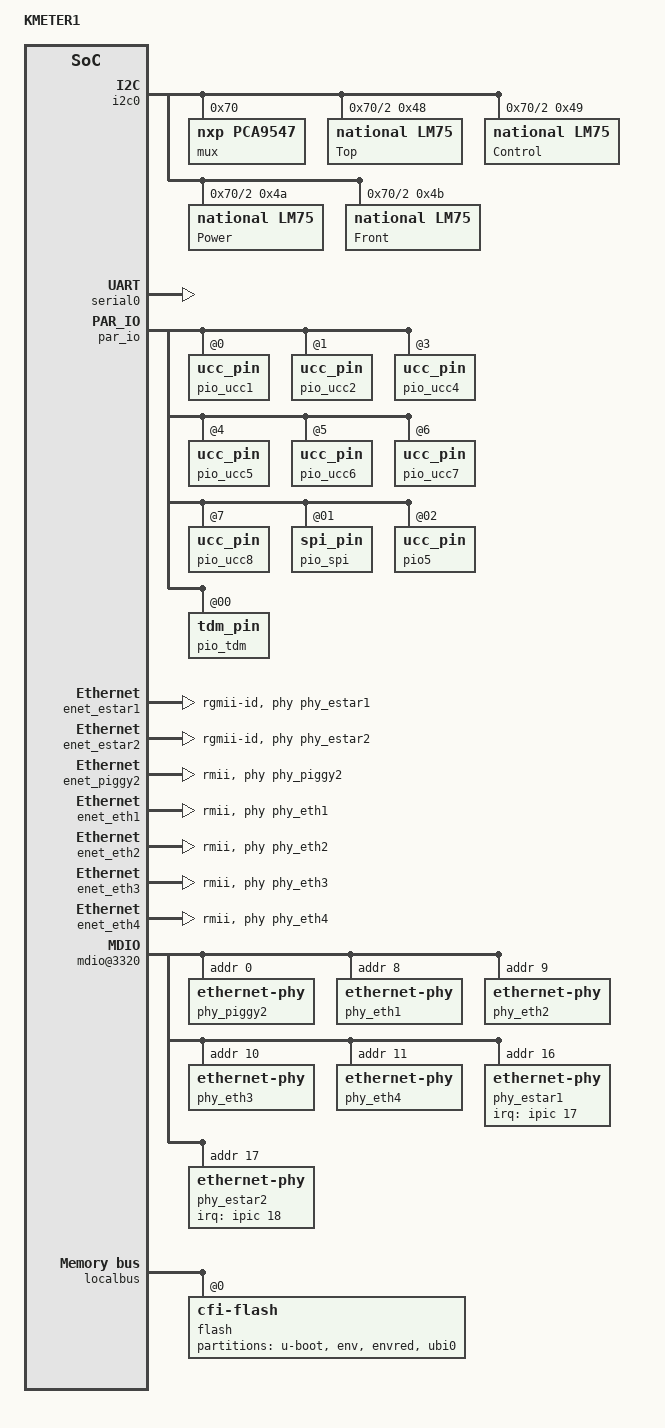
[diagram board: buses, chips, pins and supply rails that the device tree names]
// SPDX-License-Identifier: GPL-2.0+
/*
 * Hitachi Power Grids KMETER1 Device Tree Source
 *
 * 2008-2011 DENX Software Engineering GmbH
 * Copyright (C) 2020 Heiko Schocher <hs@denx.de>
 */

/dts-v1/;

#include "km836x.dtsi"

/ {
	model = "KMETER1";
	compatible = "keymile,KMETER1";

	aliases {
		ethernet0 = &enet_piggy2;
		ethernet1 = &enet_estar1;
		ethernet2 = &enet_estar2;
		ethernet3 = &enet_eth1;
		ethernet4 = &enet_eth2;
		ethernet5 = &enet_eth3;
		ethernet6 = &enet_eth4;
		serial0 = &serial0;
	};
};

&i2c0 {
	mux@70 {
		compatible = "nxp,pca9547";
		reg = <0x70>;
		#address-cells = <1>;
		#size-cells = <0>;

		i2c@1 {
			reg = <1>;
			#address-cells = <1>;
			#size-cells = <0>;

			/* Inventory EEPROM of the unit itself */
			ivm@50 {
				label = "MAIN_CTRL";
				compatible = "dummy";
				reg = <0x50>;
			};
		};

		i2c@2 {
			reg = <2>;
			#address-cells = <1>;
			#size-cells = <0>;

			/* Temperature sensors */
			temp@48 {
				label = "Top";
				compatible = "national,lm75";
				reg = <0x48>;
			};

			temp@49 {
				label = "Control";
				compatible = "national,lm75";
				reg = <0x49>;
			};

			temp@4a {
				label = "Power";
				compatible = "national,lm75";
				reg = <0x4a>;
			};

			temp@4b {
				label = "Front";
				compatible = "national,lm75";
				reg = <0x4b>;
			};
		};
	};
};

&serial0 {
	status = "okay";
};

&par_io {
	pio_ucc1: ucc_pin@0 {
		pio-map = <
			/* port pin dir open_drain assignment has_irq */
			0   1  3  0  2  0	/* MDIO   */
			0   2  1  0  1  0	/* MDC    */

			0   3  1  0  1  0	/* TxD0   */
			0   4  1  0  1  0	/* TxD1   */
			0   5  1  0  1  0	/* TxD2   */
			0   6  1  0  1  0	/* TxD3   */
			0   9  2  0  1  0	/* RxD0   */
			0  10  2  0  1  0	/* RxD1   */
			0  11  2  0  1  0	/* RxD2   */
			0  12  2  0  1  0	/* RxD3   */
			0   7  1  0  1  0	/* TX_EN  */
			0   8  1  0  1  0	/* TX_ER  */
			0  15  2  0  1  0	/* RX_DV  */
			0  16  2  0  1  0	/* RX_ER  */
			0   0  2  0  1  0	/* RX_CLK */
			2   9  1  0  3  0	/* GTX_CLK - CLK10 */
			2   8  2  0  1  0	/* GTX125  - CLK9  */
		>;
	};

	pio_ucc2: ucc_pin@1 {
		pio-map = <
			/* port pin dir open_drain assignment has_irq */
			0   1  3  0  2  0	/* MDIO   */
			0   2  1  0  1  0	/* MDC    */

			0  17  1  0  1  0	/* TxD0   */
			0  18  1  0  1  0	/* TxD1   */
			0  19  1  0  1  0	/* TxD2   */
			0  20  1  0  1  0	/* TxD3   */
			0  23  2  0  1  0	/* RxD0   */
			0  24  2  0  1  0	/* RxD1   */
			0  25  2  0  1  0	/* RxD2   */
			0  26  2  0  1  0	/* RxD3   */
			0  21  1  0  1  0	/* TX_EN  */
			0  22  1  0  1  0	/* TX_ER  */
			0  29  2  0  1  0	/* RX_DV  */
			0  30  2  0  1  0	/* RX_ER  */
			0  31  2  0  1  0	/* RX_CLK */
			2  2   1  0  2  0	/* GTX_CLK - CLK3  */
			2  3   2  0  1  0	/* GTX125  - CLK4  */
		>;
	};

	pio_ucc4: ucc_pin@3 {
		pio-map = <
			/* port pin dir open_drain assignment has_irq */
			0   1  3  0  2  0	/* MDIO */
			0   2  1  0  1  0	/* MDC  */

			1  14  1  0  1  0	/* TxD0   (PB14, out, f1) */
			1  15  1  0  1  0	/* TxD1   (PB15, out, f1) */
			1  20  2  0  1  0	/* RxD0   (PB20, in,  f1) */
			1  21  2  0  1  0	/* RxD1   (PB21, in,  f1) */
			1  18  1  0  1  0	/* TX_EN  (PB18, out, f1) */
			1  26  2  0  1  0	/* RX_DV  (PB26, in,  f1) */
			1  27  2  0  1  0	/* RX_ER  (PB27, in,  f1) */

			2  16  2  0  1  0	/* UCC4_RMII_CLK (CLK17) */
		>;
	};

	pio_ucc5: ucc_pin@4 {
		pio-map = <
			/* port pin dir open_drain assignment has_irq */
			0   1  3  0  2  0	/* MDIO */
			0   2  1  0  1  0	/* MDC  */

			3   0  1  0  1  0	/* TxD0  (PD0,  out, f1) */
			3   1  1  0  1  0	/* TxD1  (PD1,  out, f1) */
			3   6  2  0  1  0	/* RxD0  (PD6,   in, f1) */
			3   7  2  0  1  0	/* RxD1  (PD7,   in, f1) */
			3   4  1  0  1  0	/* TX_EN (PD4,  out, f1) */
			3  12  2  0  1  0	/* RX_DV (PD12,  in, f1) */
			3  13  2  0  1  0	/* RX_ER (PD13,  in, f1) */
		>;
	};

	pio_ucc6: ucc_pin@5 {
		pio-map = <
			/* port pin dir open_drain assignment has_irq */
			0   1  3  0  2  0	/* MDIO */
			0   2  1  0  1  0	/* MDC  */

			3  14  1  0  1  0	/* TxD0   (PD14, out, f1) */
			3  15  1  0  1  0	/* TxD1   (PD15, out, f1) */
			3  20  2  0  1  0	/* RxD0   (PD20, in,  f1) */
			3  21  2  0  1  0	/* RxD1   (PD21, in,  f1) */
			3  18  1  0  1  0	/* TX_EN  (PD18, out, f1) */
			3  26  2  0  1  0	/* RX_DV  (PD26, in,  f1) */
			3  27  2  0  1  0	/* RX_ER  (PD27, in,  f1) */
		>;
	};

	pio_ucc7: ucc_pin@6 {
		pio-map = <
			/* port pin dir open_drain assignment has_irq */
			0   1  3  0  2  0	/* MDIO */
			0   2  1  0  1  0	/* MDC  */

			4   0  1  0  1  0	/* TxD0   (PE0,  out, f1) */
			4   1  1  0  1  0	/* TxD1   (PE1,  out, f1) */
			4   6  2  0  1  0	/* RxD0   (PE6,   in, f1) */
			4   7  2  0  1  0	/* RxD1   (PE7,   in, f1) */
			4   4  1  0  1  0	/* TX_EN  (PE4,  out, f1) */
			4  12  2  0  1  0	/* RX_DV  (PE12,  in, f1) */
			4  13  2  0  1  0	/* RX_ER  (PE13,  in, f1) */
		>;
	};

	pio_ucc8: ucc_pin@7 {
		pio-map = <
			/* port pin dir open_drain assignment has_irq */
			0   1  3  0  2  0	/* MDIO */
			0   2  1  0  1  0	/* MDC  */

			4  14  1  0  2  0	/* TxD0   (PE14, out, f2) */
			4  15  1  0  1  0	/* TxD1   (PE15, out, f1) */
			4  20  2  0  1  0	/* RxD0   (PE20, in,  f1) */
			4  21  2  0  1  0	/* RxD1   (PE21, in,  f1) */
			4  18  1  0  1  0	/* TX_EN  (PE18, out, f1) */
			4  26  2  0  1  0	/* RX_DV  (PE26, in,  f1) */
			4  27  2  0  1  0	/* RX_ER  (PE27, in,  f1) */

			2  15  2  0  1  0	/* UCCx_RMII_CLK (CLK16) */
		>;
	};

	pio_spi: spi_pin@01 {
		pio-map = <
			/* port  pin  dir  open_drain  assignment  has_irq  */
			4  28  3  0  3  0	/* SPI_MOSI (PE28, out, f3  */
			4  30  3  0  3  0	/* SPI_CLK  (PE30, out, f3  */
		>;
	};

	/* UCC3 as HDLC controller for ICN */
	pio5: ucc_pin@02 {
		pio-map = <
			/* port  pin  dir  open_drain  assignment  has_irq */
			1   0  1  0  1  0   /* TxD0 */
			1   6  2  0  1  0   /* RxD0 */
			1  12  2  0  1  0   /* CTS */
			2  11  2  0  1  0   /* TX-CLK12 */
		>;
	};

	pio_tdm: tdm_pin@00 {
		pio-map = <
			/* port pin dir open_drain assignment has_irq */
			/* TDMa */
			0  8  3  0  2  0	/* RxD0    (PA8,  bi, f2) */
			0  13 3  0  2  0	/* TxD0    (PA13, bi, f2) */
			0  14 2  0  2  0	/* RSync0  (PA14, in, f2) */
			2  7  2  0  1  0	/* RxClk8  (PC7,  in, f1) */
			/* TDMb */
			0  27 3  0  2  0	/* RxD1    (PA27, bi, f2) */
			0  22 3  0  2  0	/* TxD1    (PA22, bi, f2) */
			0  28 2  0  2  0	/* RSync1  (PA28, in, f2) */
			2  1  2  0  1  0	/* RxClk2  (PC1,  in, f1) */
			/* TDMc */
			1  5  3  0  2  0	/* RxD2    (PB5,  bi, f2) */
			1  8  3  0  2  0	/* TxD2    (PB8,  bi, f2) */
			1  2  2  0  3  0	/* RSync2  (PB2,  in, f3) */
			2  6  2  0  1  0	/* RxClk7  (PC6,  in, f1) */
			/* TDMd */
			1  22 3  0  2  0	/* RxD3    (PB22, bi, f2) */
			1  19 3  0  1  0	/* TxD3    (PB19, bi, f1) */
			1  16 2  0  2  0	/* RSync3  (PB16, in, f2) */
			2  13 2  0  1  0	/* RxClk14 (PC13, in, f1) */
			/* TDMe */
			3  8  3  0  2  0	/* RxD4    (PD8,  bi, f2) */
			3  5  3  0  2  0	/* TxD4    (PD5,  bi, f2) */
			3  2  2  0  2  0	/* RSync4  (PD2 , in, f2) */
			2  22 2  0  1  0	/* RxClk23 (PC22, in, f1) */
			/* TDMf */
			3  19 3  0  2  0	/* RxD5    (PD19, bi, f2) */
			3  22 3  0  2  0	/* TxD5    (PD22, bi, f2) */
			3  16 2  0  1  0	/* RSync5  (PD16, in, f1) */
			2  17 2  0  1  0	/* RxClk18 (PC17, in, f1) */
			/* TDMg */
			4  8  3  0  2  0	/* RxD6    (PE8,  bi, f2) */
			4  5  3  0  2  0	/* TxD6    (PE5,  bi, f2) */
			4  2  2  0  1  0	/* RSync6  (PE2,  in, f1) */
			2  19 2  0  1  0	/* RxClk20 (PC19, in, f1) */
			/* TDMh */
			4  19 3  0  2  0	/* RxD7    (PE19, bi, f2) */
			4  22 3  0  3  0	/* TxD7    (PE22, bi, f3) */
			4  16 2  0  2  0	/* RSync7  (PE16, in, f2) */
			2  21 2  0  1  0	/* RxClk22 (PC21, in, f1) */
			/* RxTxClk0/1 */
			2  0  2  0  1  0	/* Clk1    (PC0,  in, f1) */
			2  23 2  0  1  0	/* Clk24   (PC23, in, f1) */
			/* RxTxSync0/1 */
			2  10 2  0  1  0	/* Clk11   (PC10, in, f1) */
			2  20 2  0  1  0>;	/* Clk21   (PC20, in, f1) */
	};
};

&qe {
	/* ESTAR-1 (UCC1, MDIO 0x10, RGMII) */
	enet_estar1: ucc@2000 {
		device_type = "network";
		compatible = "ucc_geth";
		cell-index = <1>;
		reg = <0x2000 0x200>;
		interrupts = <32>;
		interrupt-parent = <&qeic>;
		local-mac-address = [ 00 00 00 00 00 00 ];
		rx-clock-name = "none";
		tx-clock-name = "clk9";
		phy-handle = <&phy_estar1>;
		phy-connection-type = "rgmii-id";
		pio-handle = <&pio_ucc1>;
	};

	/* ESTAR-2 (UCC2, MDIO 0x11, RGMII) */
	enet_estar2: ucc@3000 {
		device_type = "network";
		compatible = "ucc_geth";
		cell-index = <2>;
		reg = <0x3000 0x200>;
		interrupts = <33>;
		interrupt-parent = <&qeic>;
		local-mac-address = [ 00 00 00 00 00 00 ];
		rx-clock-name = "none";
		tx-clock-name = "clk4";
		phy-handle = <&phy_estar2>;
		phy-connection-type = "rgmii-id";
		pio-handle = <&pio_ucc2>;
	};

	/* Piggy2 (UCC4, MDIO 0x00, RMII) */
	enet_piggy2: ucc@3200 {
		device_type = "network";
		compatible = "ucc_geth";
		cell-index = <4>;
		reg = <0x3200 0x200>;
		interrupts = <35>;
		interrupt-parent = <&qeic>;
		local-mac-address = [ 00 00 00 00 00 00 ];
		rx-clock-name = "none";
		tx-clock-name = "clk17";
		phy-handle = <&phy_piggy2>;
		phy-connection-type = "rmii";
		pio-handle = <&pio_ucc4>;
	};

	/* Eth-1 (UCC5, MDIO 0x08, RMII) */
	enet_eth1: ucc@2400 {
		device_type = "network";
		compatible = "ucc_geth";
		cell-index = <5>;
		reg = <0x2400 0x200>;
		interrupts = <40>;
		interrupt-parent = <&qeic>;
		local-mac-address = [ 00 00 00 00 00 00 ];
		rx-clock-name = "none";
		tx-clock-name = "clk16";
		phy-handle = <&phy_eth1>;
		phy-connection-type = "rmii";
		pio-handle = <&pio_ucc5>;
	};

	/* Eth-2 (UCC6, MDIO 0x09, RMII) */
	enet_eth2: ucc@3400 {
		device_type = "network";
		compatible = "ucc_geth";
		cell-index = <6>;
		reg = <0x3400 0x200>;
		interrupts = <41>;
		interrupt-parent = <&qeic>;
		local-mac-address = [ 00 00 00 00 00 00 ];
		rx-clock-name = "none";
		tx-clock-name = "clk16";
		phy-handle = <&phy_eth2>;
		phy-connection-type = "rmii";
		pio-handle = <&pio_ucc6>;
	};

	/* Eth-3 (UCC7, MDIO 0x0a, RMII) */
	enet_eth3: ucc@2600 {
		device_type = "network";
		compatible = "ucc_geth";
		cell-index = <7>;
		reg = <0x2600 0x200>;
		interrupts = <42>;
		interrupt-parent = <&qeic>;
		local-mac-address = [ 00 00 00 00 00 00 ];
		rx-clock-name = "none";
		tx-clock-name = "clk16";
		phy-handle = <&phy_eth3>;
		phy-connection-type = "rmii";
		pio-handle = <&pio_ucc7>;
	};

	/* Eth-4 (UCC8, MDIO 0x0b, RMII) */
	enet_eth4: ucc@3600 {
		device_type = "network";
		compatible = "ucc_geth";
		cell-index = <8>;
		reg = <0x3600 0x200>;
		interrupts = <43>;
		interrupt-parent = <&qeic>;
		local-mac-address = [ 00 00 00 00 00 00 ];
		rx-clock-name = "none";
		tx-clock-name = "clk16";
		phy-handle = <&phy_eth4>;
		phy-connection-type = "rmii";
		pio-handle = <&pio_ucc8>;
	};

	mdio@3320 {
		#address-cells = <1>;
		#size-cells = <0>;
		reg = <0x3320 0x18>;
		compatible = "fsl,ucc-mdio";

		/* Piggy2 (UCC4, MDIO 0x00, RMII) */
		phy_piggy2: ethernet-phy@0 {
			reg = <0x0>;
		};

		/* Eth-1 (UCC5, MDIO 0x08, RMII) */
		phy_eth1: ethernet-phy@8 {
			reg = <0x08>;
		};

		/* Eth-2 (UCC6, MDIO 0x09, RMII) */
		phy_eth2: ethernet-phy@9 {
			reg = <0x09>;
		};

		/* Eth-3 (UCC7, MDIO 0x0a, RMII) */
		phy_eth3: ethernet-phy@a {
			reg = <0x0a>;
		};

		/* Eth-4 (UCC8, MDIO 0x0b, RMII) */
		phy_eth4: ethernet-phy@b {
			reg = <0x0b>;
		};

		/* ESTAR-1 (UCC1, MDIO 0x10, RGMII) */
		phy_estar1: ethernet-phy@10 {
			interrupt-parent = <&ipic>;
			interrupts = <17 0x8>;
			reg = <0x10>;
		};

		/* ESTAR-2 (UCC2, MDIO 0x11, RGMII) */
		phy_estar2: ethernet-phy@11 {
			interrupt-parent = <&ipic>;
			interrupts = <18 0x8>;
			reg = <0x11>;
		};
	};
};

&localbus {
	ranges = <0 0 0xf0000000 0x04000000	/* LB 0 */
		  1 0 0xe8000000 0x01000000	/* LB 1 */
		  3 0 0xa0000000 0x10000000>;	/* LB 3 */

	flash@0,0 {
		compatible = "cfi-flash";
		reg = <0 0 0x04000000>;
		#address-cells = <1>;
		#size-cells = <1>;
		bank-width = <2>;
		partition@0 { /* 768KB */
			label = "u-boot";
			reg = <0 0xC0000>;
		};
		partition@c0000 { /* 128KB */
			label = "env";
			reg = <0xC0000 0x20000>;
		};
		partition@e0000 { /* 128KB */
			label = "envred";
			reg = <0xE0000 0x20000>;
		};
		partition@100000 { /* 64512KB */
			label = "ubi0";
			reg = <0x100000 0x3F00000>;
		};
	};
};

#include "kmeter1-uboot.dtsi"
